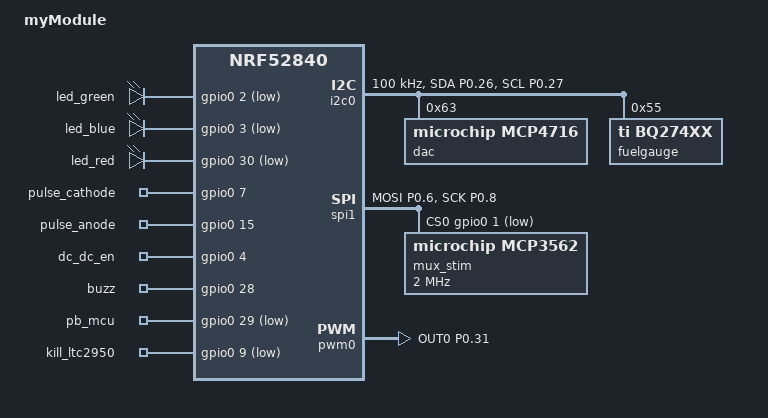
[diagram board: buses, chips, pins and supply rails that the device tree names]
// Copyright (c) 2023 Nordic Semiconductor ASA
// SPDX-License-Identifier: Apache-2.0

/dts-v1/;
#include <nordic/nrf52840_qiaa.dtsi>

/ {
    model = "myModule";
    compatible = "mymodules";

    chosen {
        zephyr,sram = &sram0;
        zephyr,flash = &flash0;
        zephyr,code-partition = &slot0_partition;
    };

    // zephyr,user {
    //     io-channels = <&adc 0>;
    // };

    leds {
        compatible = "gpio-leds";
        led_green: led_green { gpios = <&gpio0  2 GPIO_ACTIVE_LOW>; };
        led_blue:  led_blue  { gpios = <&gpio0  3 GPIO_ACTIVE_LOW>; };
        led_red:   led_red   { gpios = <&gpio0 30 GPIO_ACTIVE_LOW>; };
        led3: led_3 { status = "disabled"; };
    };

    /* Ostali korisni GPIO-i */
    custom_gpio_out {
        compatible = "gpio-keys";
        pulse_cathode: pulse_cathode { gpios = <&gpio0  7 GPIO_ACTIVE_HIGH>; };
        pulse_anode:   pulse_anode   { gpios = <&gpio0 15 GPIO_ACTIVE_HIGH>; };
        dc_dc_en:      dc_dc_en      { gpios = <&gpio0  4 GPIO_ACTIVE_HIGH>; };
        buzz:          buzz          { gpios = <&gpio0 28 GPIO_ACTIVE_HIGH>; };

        /* DODATO: PB_MCU (simulira pritisak tastera) i KILL ka LTC2950 */
        pb_mcu: pb_mcu { gpios = <&gpio0 29 GPIO_ACTIVE_LOW>; };
        kill_ltc2950: kill { gpios = <&gpio0  9 GPIO_ACTIVE_LOW>; };
    };

    aliases {
        led0 = &led_green;
        led1 = &led_blue;
        led2 = &led_red;

        pulse-cathode = &pulse_cathode;
        pulse-anode   = &pulse_anode;
        dc-dc-en      = &dc_dc_en;

        /* DODATO: aliasi za PB_MCU i KILL */
        pb-mcu = &pb_mcu;
        kill   = &kill_ltc2950;
        buzz   = &buzz;
        i2c0 = &i2c0;
    };
};

// &adc {
//     status = "okay";
//     #address-cells = <1>;
//     #size-cells = <0>;

//     channel@0 {
//         reg = <0>;
//         zephyr,gain = "ADC_GAIN_1_6";
//         zephyr,reference = "ADC_REF_INTERNAL";
//         zephyr,acquisition-time = <ADC_ACQ_TIME_DEFAULT>;
//         zephyr,input-positive = <NRF_SAADC_AIN3>;  // P0.02
//         zephyr,resolution = <12>;
//     };
// };

&pinctrl {
    i2c0_default: i2c0_default {
        group1 {
            psels = <NRF_PSEL(TWIM_SDA, 0, 26)>,
                    <NRF_PSEL(TWIM_SCL, 0, 27)>;
        };
    };

    i2c0_sleep: i2c0_sleep {
        group1 {
            psels = <NRF_PSEL(TWIM_SDA, 0, 26)>,
                    <NRF_PSEL(TWIM_SCL, 0, 27)>;
            low-power-enable;
        };
    };

    spi1_default: spi1_default {
        group1 {
            psels = <NRF_PSEL(SPIM_MOSI, 0, 6)>,
                    <NRF_PSEL(SPIM_SCK, 0, 8)>;
        };
    };

    spi1_sleep: spi1_sleep {
        group1 {
            psels = <NRF_PSEL(SPIM_MOSI, 0, 6)>,
                    <NRF_PSEL(SPIM_SCK, 0, 8)>;
            low-power-enable;
        };
    };

    /* PWM0 */
    pwm0_default: pwm0_default {
        group1 { psels = <NRF_PSEL(PWM_OUT0, 0, 31)>; };
    };
    pwm0_sleep: pwm0_sleep {
        group1 {
            psels = <NRF_PSEL(PWM_OUT0, 0, 31)>;
            low-power-enable;
        };
    };
};

&i2c0 {
    compatible = "nordic,nrf-twim";
    status = "okay";
    pinctrl-0 = <&i2c0_default>;
    pinctrl-1 = <&i2c0_sleep>;
    pinctrl-names = "default", "sleep";
    clock-frequency = <I2C_BITRATE_STANDARD>;

    dac@63 {
        compatible = "microchip,mcp4716";
        reg = <0x63>;
        status = "okay";
        #io-channel-cells = <1>;
    };

    fuelgauge: bq27220@55 {
        compatible = "ti,bq274xx";
        reg = <0x55>;
        status = "okay";
        design-voltage = <3700>;      /* mV */
        design-capacity = <2200>;     /* mAh */
        taper-current = <100>;        /* mA */
        terminate-voltage = <3200>;   /* mV */
    };
};

/* MULTIPLEXER (SPIM1 bez MISO) */
&spi1 {
    compatible = "nordic,nrf-spim";
    status = "okay";
    pinctrl-0 = <&spi1_default>;
    pinctrl-1 = <&spi1_sleep>;
    pinctrl-names = "default", "sleep";
    cs-gpios = <&gpio0 1 GPIO_ACTIVE_LOW>;
    mux_stim: hv2607@0 {
        compatible = "microchip,mcp3562";
        reg = <0>;
        spi-max-frequency = <2000000>;
    };
};

&pwm0 {
    status = "okay";
    pinctrl-0 = <&pwm0_default>;
    pinctrl-1 = <&pwm0_sleep>;
    pinctrl-names = "default", "sleep";
};

/* GPIO and GPIOTE */
&gpio0 { status = "okay"; };
&gpiote { status = "okay"; };

/* Flash Partition Layout */
&flash0 {
    partitions {
        compatible = "fixed-partitions";
        #address-cells = <1>;
        #size-cells = <1>;

        boot_partition: partition@0      { label = "mcuboot";       reg = <0x00000 0x0C000>; };
        slot0_partition: partition@c000  { label = "image-0";       reg = <0x0C000 0x72000>; };
        slot1_partition: partition@7e000 { label = "image-1";       reg = <0x7E000 0x72000>; };
        scratch_partition: partition@f0000 { label = "image-scratch"; reg = <0xF0000 0x0A000>; };
        storage_partition: partition@fa000 { label = "storage";       reg = <0xFA000 0x06000>; };
    };
};
